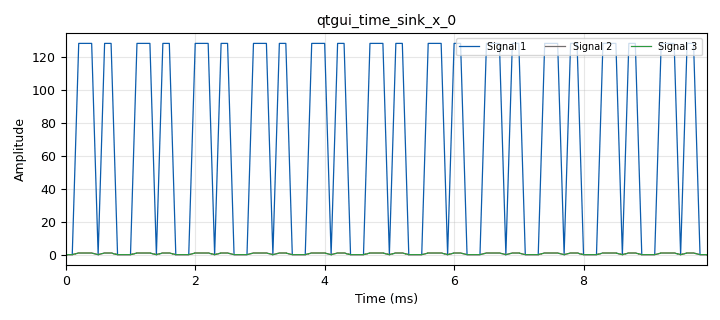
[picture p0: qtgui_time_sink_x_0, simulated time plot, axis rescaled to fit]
options:
  parameters:
    generate_options: qt_gui
    id: GFSK_Mod_and_Demod_Example
    output_language: python
    title: GFSK Mod and Demod
  states: {}

blocks:
- name: delay
  id: variable_qtgui_range
  parameters:
    label: Delay
    rangeType: int
    start: '0'
    step: '1'
    stop: '100'
    value: '0'
  states: {}
- name: samp_rate
  id: variable
  parameters:
    value: '10000'
  states: {}
- name: blocks_delay_0
  id: blocks_delay
  parameters:
    delay: delay
    type: float
  states: {}
- name: blocks_pack_k_bits_bb_0
  id: blocks_pack_k_bits_bb
  parameters:
    k: '8'
  states: {}
- name: blocks_repack_bits_bb_0
  id: blocks_repack_bits_bb
  parameters:
    endianness: gr.GR_LSB_FIRST
    k: '1'
    l: '8'
  states: {}
- name: blocks_stream_to_tagged_stream_0
  id: blocks_stream_to_tagged_stream
  parameters:
    len_tag_key: '"packet_len"'
    packet_len: '9'
    type: byte
  states: {}
- name: blocks_uchar_to_float_0
  id: blocks_uchar_to_float
  parameters: {}
  states: {}
- name: blocks_uchar_to_float_1
  id: blocks_uchar_to_float
  parameters: {}
  states: {}
- name: blocks_uchar_to_float_2
  id: blocks_uchar_to_float
  parameters: {}
  states: {}
- name: blocks_vector_source_x_0
  id: blocks_vector_source_x
  parameters:
    repeat: 'True'
    type: byte
    vector: (0,0,0,1,1,1,0,1,1)
  states: {}
- name: digital_gfsk_demod_0
  id: digital_gfsk_demod
  parameters:
    freq_error: '0.0'
    gain_mu: '0.175'
    mu: '0.5'
    omega_relative_limit: '0.005'
    samples_per_symbol: '2'
    sensitivity: '1.0'
  states: {}
- name: digital_gfsk_mod_0
  id: digital_gfsk_mod
  parameters:
    bt: '0.35'
    samples_per_symbol: '2'
    sensitivity: '1.0'
  states: {}
- name: qtgui_time_sink_x_0
  id: qtgui_time_sink_x
  parameters:
    nconnections: '3'
    size: '100'
    srate: samp_rate
    type: float
  states: {}

connections:
- [blocks_delay_0, '0', qtgui_time_sink_x_0, '2']
- [blocks_pack_k_bits_bb_0, '0', blocks_uchar_to_float_1, '0']
- [blocks_repack_bits_bb_0, '0', blocks_uchar_to_float_0, '0']
- [blocks_stream_to_tagged_stream_0, '0', blocks_uchar_to_float_2, '0']
- [blocks_stream_to_tagged_stream_0, '0', digital_gfsk_mod_0, '0']
- [blocks_uchar_to_float_0, '0', qtgui_time_sink_x_0, '0']
- [blocks_uchar_to_float_1, '0', qtgui_time_sink_x_0, '1']
- [blocks_uchar_to_float_2, '0', blocks_delay_0, '0']
- [blocks_vector_source_x_0, '0', blocks_stream_to_tagged_stream_0, '0']
- [digital_gfsk_demod_0, '0', blocks_pack_k_bits_bb_0, '0']
- [digital_gfsk_demod_0, '0', blocks_repack_bits_bb_0, '0']
- [digital_gfsk_mod_0, '0', digital_gfsk_demod_0, '0']

metadata:
  file_format: 1
  grc_version: 3.10.12.0
